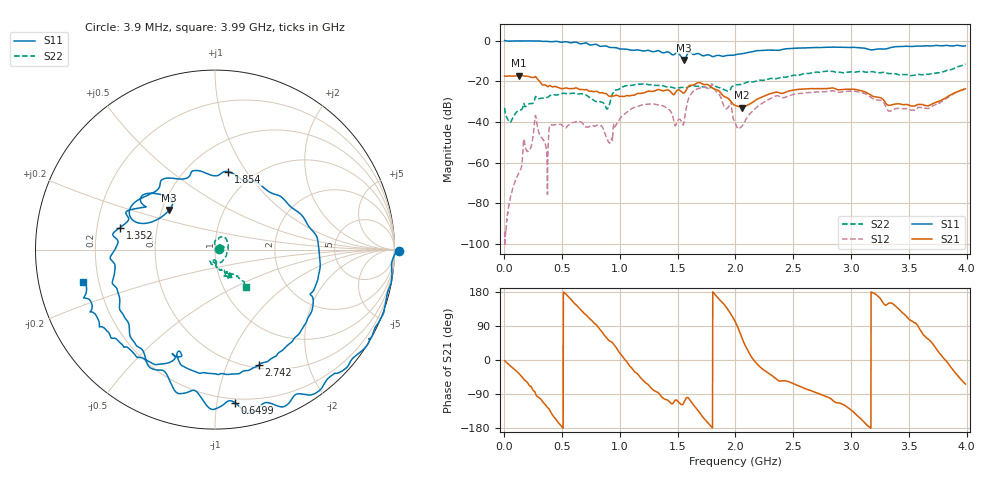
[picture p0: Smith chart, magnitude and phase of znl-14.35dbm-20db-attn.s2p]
#  HZ  S  RI  R  50.00
! Rohde & Schwarz Vector Network Analyzer
! Rohde-Schwarz,ZNL20-2Port,1323001220101312,1.72.1.6-23.02.1.246
! Created: UTC 10/23/2024, 6:41:24 PM
! freq[Hz]  re:S11  im:S11  re:S21  im:S21  re:S12  im:S12  re:S22  im:S22
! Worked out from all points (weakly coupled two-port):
!   2000 points, 3.9 MHz to 3.99 GHz, reference 50 ohm
!   highest |S21| = -17.12 dB at 127.5 MHz (marker M1); lowest = -32.9 dB at 2.06 GHz (marker M2)
!   lowest |S11| = -9.4 dB at 1.557 GHz (marker M3), VSWR 2.02, Z = 27.3 + j13.5 ohm
!   |S11| at or under -10 dB: nowhere
!   |S22| runs from -40.2 to -11.3 dB; largest |S21 - S12| = 0.14
!   S11 on the Smith chart (normalised r, x): 3.9 MHz: -71, -21; 649.9 MHz: 0.17, -1.12; 1.352 GHz: 0.30, +0.10; 1.854 GHz: 0.77, +0.83; 2.742 GHz: 0.53, -1.31; 3.99 GHz: 0.14, -0.12
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3900000  1.026 -0.00791  0.137 -0.00409  -8.78e-06 1.8e-05  0.0222 0.00144
1.275216e8  0.9626 -0.2347  0.1135 -0.0809  -0.000145 0.000534  0.0142 0.0127
2.730761e8  0.8577 -0.4965  -0.000734 -0.1312  -0.00154 -0.0143  0.0358 0.0232
3.608076e8  0.7196 -0.6684  -0.0397 -0.0698  -0.00232 0.000943  0.0345 0.0189
4.086611e8  0.6319 -0.7156  -0.0579 -0.0479  -0.00816 -0.00229  0.0416 0.0204
6.499226e8  0.1093 -0.852  -0.0461 0.0438  -0.00692 0.0076  0.0476 0.0129
6.698616e8  0.0642 -0.849  -0.0413 0.0483  -0.00551 0.00802  0.0484 0.0111
9.171048e8  -0.4075 -0.5556  0.0281 0.0325  0.00273 0.00137  -0.00119 0.0317
1.082598e9  -0.5302 -0.2856  0.0425 -0.011  8.95e-05 -0.0195  0.0398 0.0692
1.333829e9  -0.5682 0.0896  0.00388 -0.0633  -0.0221 -0.0142  0.0704 0.0379
1.351774e9  -0.5297 0.1221  -0.0033 -0.0613  -0.0223 -0.013  0.0723 0.0328
1.557146e9  -0.2556 0.2202  -0.0189 -0.0487  0.0048 -0.00921  0.0567 -0.0419
1.644877e9  -0.3124 0.343  -0.0432 -0.0713  -0.00877 -0.06  0.0256 -0.0731
1.854236e9  0.0733 0.4339  -0.0566 0.0178  -0.028 0.0422  -0.0275 -0.0663
1.997797e9  0.3319 0.3087  -0.00519 0.0251  -0.00331 -0.00913  -0.000703 -0.0808
2.059608e9  0.4182 0.2418  0.0126 0.0188  0.00433 -0.00676  0.00568 -0.0858
2.324796e9  0.5616 -0.199  0.0383 -0.0356  0.0241 -0.0327  0.0346 -0.1118
2.661765e9  0.3388 -0.5939  0.00947 -0.0659  0.00822 -0.0533  0.081 -0.1416
2.741521e9  0.2446 -0.6437  -0.00143 -0.067  0.00107 -0.0552  0.0861 -0.148
3.100422e9  -0.1834 -0.6474  -0.0543 -0.0198  -0.0485 -0.0198  0.0897 -0.153
3.325732e9  -0.2353 -0.6188  -0.0223 0.0129  -0.0151 0.011  0.0559 -0.1465
3.9897e9  -0.733 -0.1822  0.0292 -0.0591  0.0284 -0.0603  0.1708 -0.2107
